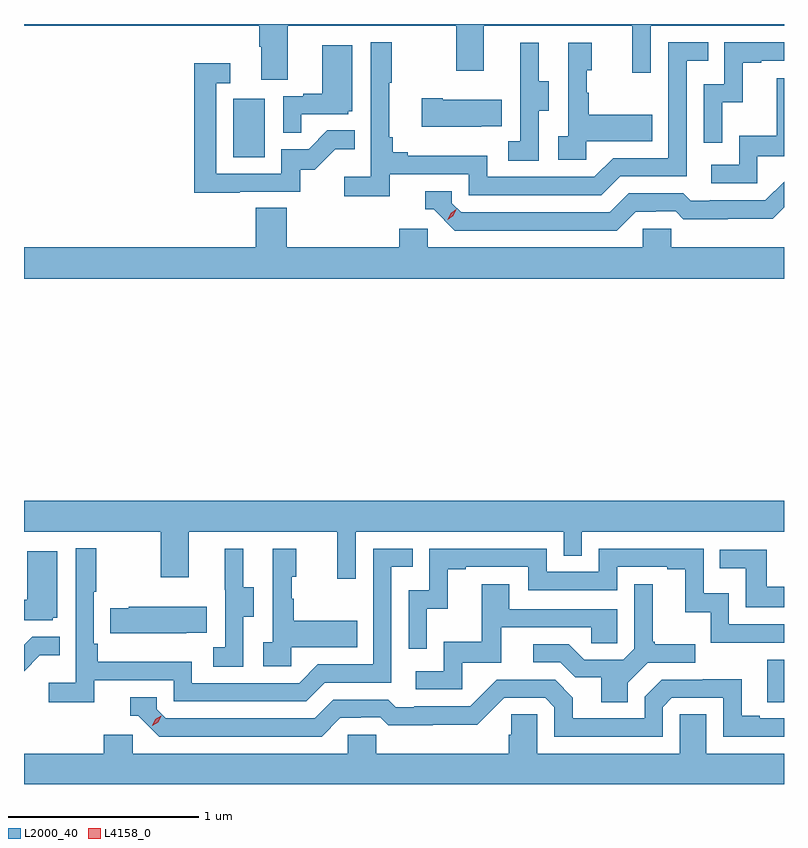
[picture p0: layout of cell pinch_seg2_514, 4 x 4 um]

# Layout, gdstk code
import gdstk
lib = gdstk.Library(unit=1e-6, precision=1e-09)
def R(c, l, rs):  # rectangles x0, y0, x1, y1
    for r in rs: c.add(gdstk.rectangle(r[:2], r[2:], *l))
def P(c, l, *ps):  # polygons
    for p in ps: c.add(gdstk.Polygon(p, *l))
L2000_40 = (2000, 40)
L4158_0 = (4158, 0)

pinch_seg2_514 = lib.new_cell('pinch_seg2_514')
R(pinch_seg2_514, L2000_40, [(1013.063,589.462,1013.15,589.686), (1010.252,592.332,1010.416,592.639)])
P(pinch_seg2_514, L2000_40, [(1010.539,593.024),(1011.424,593.024),(1011.424,592.785),(1011.571,592.785),(1011.571,593.024),(1012.352,593.024),(1012.352,592.776),(1012.449,592.776),(1012.449,593.024),(1013.15,593.024),(1013.15,593.032),(1009.15,593.032),(1009.15,593.024),(1010.387,593.024),(1010.387,592.912),(1010.399,592.912),(1010.399,592.738),(1010.539,592.738)],
  [(1011.074,592.242),(1011.492,592.242),(1011.492,592.131),(1012.189,592.131),(1012.288,592.23),(1012.638,592.23),(1012.638,592.839),(1012.751,592.839),(1012.751,592.935),(1012.542,592.935),(1012.542,592.326),(1012.251,592.326),(1012.152,592.227),(1011.588,592.227),(1011.588,592.339),(1011.169,592.339),(1011.169,592.358),(1011.092,592.358),(1011.092,592.435),(1011.073,592.435),(1011.073,592.723),(1011.085,592.723),(1011.085,592.936),(1010.976,592.936),(1010.976,592.228),(1010.835,592.228),(1010.835,592.126),(1011.074,592.126)],
  [(1012.824,592.619),(1012.934,592.619),(1012.934,592.827),(1013.029,592.827),(1013.029,592.839),(1013.15,592.839),(1013.15,592.935),(1012.836,592.935),(1012.836,592.716),(1012.728,592.716),(1012.728,592.407),(1012.824,592.407)],
  [(1011.858,592.576),(1011.913,592.576),(1011.913,592.731),(1011.859,592.731),(1011.859,592.933),(1011.761,592.933),(1011.761,592.719),(1011.762,592.719),(1011.762,592.415),(1011.699,592.415),(1011.699,592.312),(1011.858,592.312)],
  [(1012.11,592.415),(1012.457,592.415),(1012.457,592.555),(1012.123,592.555),(1012.123,592.67),(1012.113,592.67),(1012.113,592.788),(1012.138,592.788),(1012.138,592.933),(1012.014,592.933),(1012.014,592.442),(1011.963,592.442),(1011.963,592.317),(1012.11,592.317)],
  [(1010.609,592.557),(1010.856,592.557),(1010.856,592.572),(1010.878,592.572),(1010.878,592.921),(1010.72,592.921),(1010.72,592.666),(1010.621,592.666),(1010.621,592.653),(1010.514,592.653),(1010.514,592.459),(1010.609,592.459)],
  [(1010.285,592.149),(1010.604,592.149),(1010.604,592.266),(1010.68,592.266),(1010.787,592.373),(1010.891,592.373),(1010.891,592.472),(1010.747,592.472),(1010.649,592.374),(1010.505,592.374),(1010.505,592.245),(1010.163,592.245),(1010.163,592.719),(1010.236,592.719),(1010.236,592.825),(1010.047,592.825),(1010.047,592.144),(1010.285,592.144)],
  [(1013.01,592.335),(1013.15,592.335),(1013.15,592.747),(1013.113,592.747),(1013.113,592.444),(1012.914,592.444),(1012.914,592.29),(1012.767,592.29),(1012.767,592.194),(1013.01,592.194)],
  [(1011.557,592.493),(1011.665,592.493),(1011.665,592.633),(1011.355,592.633),(1011.355,592.641),(1011.243,592.641),(1011.243,592.49),(1011.557,592.49)],
  [(1012.369,592.044),(1012.476,592.044),(1012.476,592.047),(1012.579,592.047),(1012.621,592.005),(1012.854,592.005),(1012.854,592.007),(1013.09,592.007),(1013.15,592.067),(1013.15,592.202),(1013.052,592.104),(1012.759,592.104),(1012.759,592.101),(1012.66,592.101),(1012.621,592.14),(1012.332,592.14),(1012.233,592.041),(1011.45,592.041),(1011.402,592.089),(1011.402,592.152),(1011.263,592.152),(1011.263,592.056),(1011.306,592.056),(1011.417,591.945),(1012.27,591.945)],
  [(1013.15,591.856),(1012.557,591.856),(1012.557,591.954),(1012.407,591.954),(1012.407,591.856),(1011.276,591.856),(1011.276,591.954),(1011.125,591.954),(1011.125,591.856),(1010.534,591.856),(1010.534,592.064),(1010.369,592.064),(1010.369,591.856),(1009.15,591.856),(1009.15,591.692),(1013.15,591.692)],
  [(1010.895,590.36),(1011.99,590.36),(1011.99,590.233),(1012.086,590.233),(1012.086,590.36),(1013.15,590.36),(1013.15,590.524),(1009.15,590.524),(1009.15,590.36),(1009.87,590.36),(1009.87,590.121),(1010.017,590.121),(1010.017,590.36),(1010.798,590.36),(1010.798,590.112),(1010.895,590.112)],
  [(1009.52,589.578),(1009.938,589.578),(1009.938,589.467),(1010.635,589.467),(1010.734,589.566),(1011.084,589.566),(1011.084,590.175),(1011.197,590.175),(1011.197,590.271),(1010.988,590.271),(1010.988,589.662),(1010.697,589.662),(1010.598,589.563),(1010.034,589.563),(1010.034,589.675),(1009.538,589.675),(1009.538,589.771),(1009.518,589.771),(1009.518,590.044),(1009.531,590.044),(1009.531,590.272),(1009.422,590.272),(1009.422,589.564),(1009.281,589.564),(1009.281,589.462),(1009.52,589.462)],
  [(1011.27,589.955),(1011.38,589.955),(1011.38,590.163),(1011.475,590.163),(1011.475,590.175),(1011.804,590.175),(1011.804,590.052),(1012.272,590.052),(1012.272,590.175),(1012.535,590.175),(1012.535,590.163),(1012.631,590.163),(1012.631,589.937),(1012.764,589.937),(1012.764,589.776),(1013.15,589.776),(1013.15,589.872),(1012.86,589.872),(1012.86,590.035),(1012.728,590.035),(1012.728,590.271),(1012.176,590.271),(1012.176,590.148),(1011.9,590.148),(1011.9,590.271),(1011.282,590.271),(1011.282,590.052),(1011.174,590.052),(1011.174,589.743),(1011.27,589.743)],
  [(1010.304,589.912),(1010.359,589.912),(1010.359,590.067),(1010.305,590.067),(1010.305,590.269),(1010.207,590.269),(1010.207,590.055),(1010.208,590.055),(1010.208,589.751),(1010.145,589.751),(1010.145,589.648),(1010.304,589.648)],
  [(1010.556,589.751),(1010.903,589.751),(1010.903,589.891),(1010.569,589.891),(1010.569,590.006),(1010.559,590.006),(1010.559,590.124),(1010.584,590.124),(1010.584,590.269),(1010.46,590.269),(1010.46,589.778),(1010.409,589.778),(1010.409,589.653),(1010.556,589.653)],
  [(1013.15,590.071),(1013.059,590.071),(1013.059,590.265),(1012.813,590.265),(1012.813,590.168),(1012.948,590.168),(1012.948,589.962),(1013.15,589.962)],
  [(1009.302,589.908),(1009.324,589.908),(1009.324,590.257),(1009.166,590.257),(1009.166,590.002),(1009.15,590.002),(1009.15,589.893),(1009.302,589.893)],
  [(1011.456,589.671),(1011.661,589.671),(1011.661,589.857),(1012.135,589.857),(1012.135,589.773),(1012.272,589.773),(1012.272,589.953),(1011.703,589.953),(1011.703,590.083),(1011.559,590.083),(1011.559,589.78),(1011.36,589.78),(1011.36,589.626),(1011.213,589.626),(1011.213,589.53),(1011.456,589.53)],
  [(1012.327,589.564),(1012.434,589.671),(1012.684,589.671),(1012.684,589.768),(1012.471,589.768),(1012.471,589.78),(1012.459,589.78),(1012.459,590.083),(1012.362,590.083),(1012.362,589.743),(1012.305,589.686),(1012.099,589.686),(1012.018,589.767),(1011.831,589.767),(1011.831,589.674),(1011.972,589.674),(1012.052,589.594),(1012.187,589.594),(1012.187,589.462),(1012.327,589.462)],
  [(1010.003,589.829),(1010.111,589.829),(1010.111,589.966),(1009.701,589.966),(1009.701,589.956),(1009.603,589.956),(1009.603,589.826),(1010.003,589.826)],
  [(1009.233,589.709),(1009.337,589.709),(1009.337,589.808),(1009.193,589.808),(1009.15,589.765),(1009.15,589.626)],
  [(1010.815,589.38),(1010.922,589.38),(1010.922,589.383),(1011.025,589.383),(1011.067,589.341),(1011.3,589.341),(1011.3,589.343),(1011.536,589.343),(1011.678,589.485),(1011.894,589.485),(1011.942,589.437),(1011.942,589.281),(1012.512,589.281),(1012.512,589.437),(1012.56,589.485),(1012.83,589.485),(1012.83,589.281),(1013.15,589.281),(1013.15,589.377),(1013.023,589.377),(1013.023,589.39),(1012.927,589.39),(1012.927,589.583),(1012.722,589.583),(1012.722,589.581),(1012.506,589.581),(1012.416,589.491),(1012.416,589.377),(1012.039,589.377),(1012.039,589.487),(1011.945,589.581),(1011.639,589.581),(1011.498,589.44),(1011.205,589.44),(1011.205,589.437),(1011.106,589.437),(1011.067,589.476),(1010.778,589.476),(1010.679,589.377),(1009.896,589.377),(1009.848,589.425),(1009.848,589.488),(1009.709,589.488),(1009.709,589.392),(1009.752,589.392),(1009.863,589.281),(1010.716,589.281)],
  [(1013.15,589.192),(1012.741,589.192),(1012.741,589.4),(1012.602,589.4),(1012.602,589.192),(1011.852,589.192),(1011.852,589.4),(1011.715,589.4),(1011.715,589.29),(1011.701,589.29),(1011.701,589.192),(1011.003,589.192),(1011.003,589.29),(1010.853,589.29),(1010.853,589.192),(1009.722,589.192),(1009.722,589.29),(1009.571,589.29),(1009.571,589.192),(1009.15,589.192),(1009.15,589.032),(1013.15,589.032)])
P(pinch_seg2_514, L4158_0, [(1009.825,589.339),(1009.825,589.34),(1009.841,589.372),(1009.872,589.39),(1009.873,589.39),(1009.873,589.39),(1009.856,589.358),(1009.825,589.339)],
  [(1011.38,592.002),(1011.38,592.002),(1011.395,592.035),(1011.425,592.056),(1011.425,592.056),(1011.425,592.055),(1011.41,592.022),(1011.38,592.002)])

lib.write_gds('pinch_seg2_514.gds')
